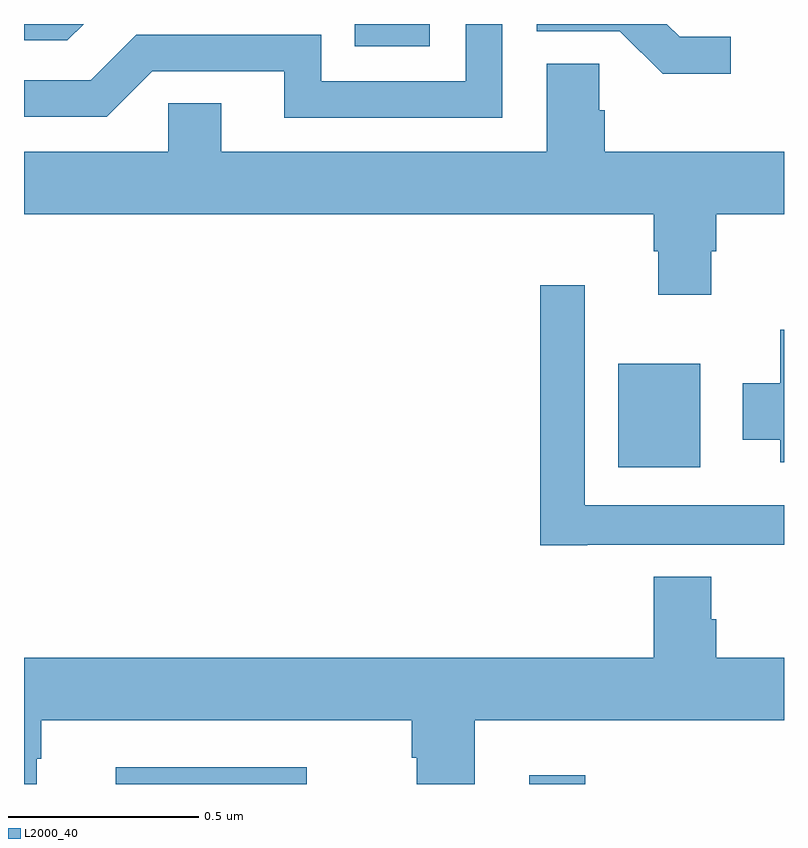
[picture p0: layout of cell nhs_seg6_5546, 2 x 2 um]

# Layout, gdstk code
import gdstk
lib = gdstk.Library(unit=1e-6, precision=1e-09)
def R(c, l, rs):  # rectangles x0, y0, x1, y1
    for r in rs: c.add(gdstk.rectangle(r[:2], r[2:], *l))
def P(c, l, *ps):  # polygons
    for p in ps: c.add(gdstk.Polygon(p, *l))
L2000_40 = (2000, 40)

nhs_seg6_5546 = lib.new_cell('nhs_seg6_5546')
R(nhs_seg6_5546, L2000_40, [(184.241,948.5,184.744,948.544), (185.33,948.5,185.477,948.523), (185.564,949.334,185.779,949.606), (184.87,950.441,185.068,950.5)])
P(nhs_seg6_5546, L2000_40, [(185.259,950.5),(185.163,950.5),(185.163,950.349),(184.782,950.349),(184.782,950.472),(184.296,950.472),(184.176,950.352),(184,950.352),(184,950.256),(184.218,950.256),(184.338,950.376),(184.685,950.376),(184.685,950.253),(185.259,950.253)],
  [(185.86,950.466),(185.725,950.466),(185.691,950.5),(185.349,950.5),(185.349,950.481),(185.568,950.481),(185.681,950.369),(185.86,950.369)],
  [(184.157,950.5),(184,950.5),(184,950.457),(184.114,950.457)],
  [(185.809,949.902),(185.822,949.902),(185.822,950),(186,950),(186,950.164),(185.528,950.164),(185.528,950.273),(185.514,950.273),(185.514,950.396),(185.375,950.396),(185.375,950.164),(184.519,950.164),(184.519,950.291),(184.38,950.291),(184.38,950.164),(184,950.164),(184,950),(185.657,950),(185.657,949.902),(185.669,949.902),(185.669,949.788),(185.809,949.788)],
  [(185.482,949.13),(186,949.13),(186,949.234),(185.475,949.234),(185.475,949.813),(185.359,949.813),(185.359,949.128),(185.482,949.128)],
  [(186,949.695),(185.99,949.695),(185.99,949.554),(185.891,949.554),(185.891,949.406),(185.99,949.406),(185.99,949.347),(186,949.347)],
  [(184.033,948.567),(184.046,948.567),(184.046,948.668),(185.021,948.668),(185.021,948.569),(185.033,948.569),(185.033,948.5),(185.186,948.5),(185.186,948.668),(186,948.668),(186,948.832),(185.822,948.832),(185.822,948.933),(185.809,948.933),(185.809,949.045),(185.657,949.045),(185.657,948.832),(184,948.832),(184,948.5),(184.033,948.5)])

lib.write_gds('nhs_seg6_5546.gds')
